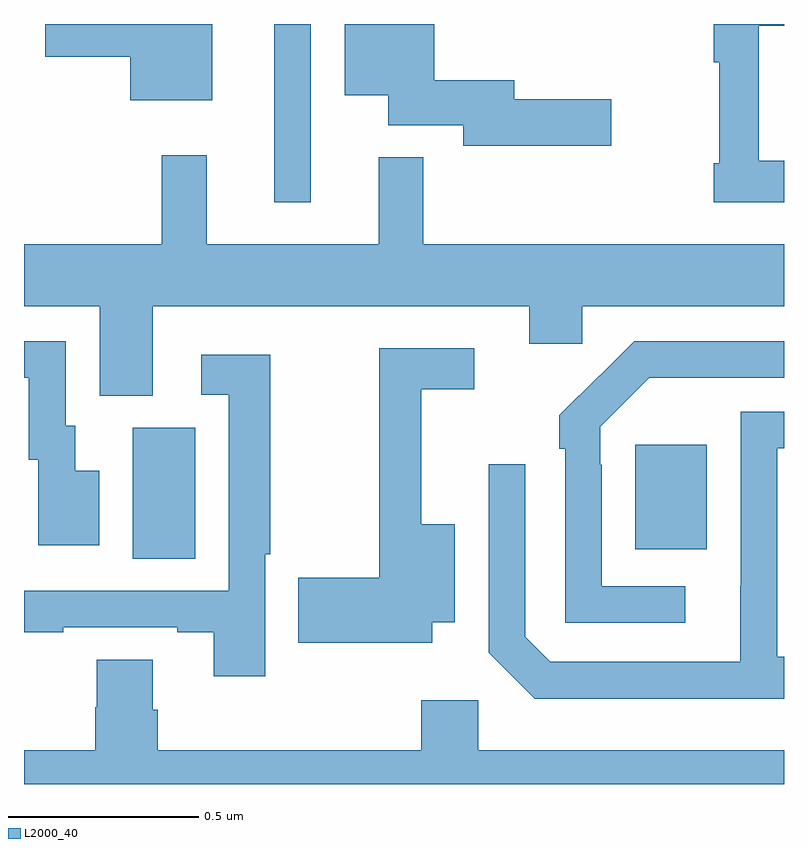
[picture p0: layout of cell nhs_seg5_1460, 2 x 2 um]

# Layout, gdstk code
import gdstk
lib = gdstk.Library(unit=1e-6, precision=1e-09)
def R(c, l, rs):  # rectangles x0, y0, x1, y1
    for r in rs: c.add(gdstk.rectangle(r[:2], r[2:], *l))
def P(c, l, *ps):  # polygons
    for p in ps: c.add(gdstk.Polygon(p, *l))
L2000_40 = (2000, 40)

nhs_seg5_1460 = lib.new_cell('nhs_seg5_1460')
R(nhs_seg5_1460, L2000_40, [(130.286,893.392,130.45,893.736), (131.609,893.417,131.797,893.692), (130.658,894.33,130.755,894.799)])
P(nhs_seg5_1460, L2000_40, [(130.495,894.799),(130.056,894.799),(130.056,894.713),(130.28,894.713),(130.28,894.599),(130.495,894.599)],
  [(132,894.439),(131.933,894.439),(131.933,894.794),(132,894.794),(132,894.799),(131.83,894.799),(131.83,894.798),(131.815,894.798),(131.815,894.698),(131.83,894.698),(131.83,894.433),(131.815,894.433),(131.815,894.33),(132,894.33)],
  [(131.545,894.601),(131.29,894.601),(131.29,894.651),(131.08,894.651),(131.08,894.799),(130.844,894.799),(130.844,894.611),(130.958,894.611),(130.958,894.533),(131.156,894.533),(131.156,894.479),(131.545,894.479)],
  [(130.339,894.056),(131.33,894.056),(131.33,893.958),(131.469,893.958),(131.469,894.056),(132,894.056),(132,894.22),(131.051,894.22),(131.051,894.448),(130.934,894.448),(130.934,894.22),(130.481,894.22),(130.481,894.454),(130.363,894.454),(130.363,894.22),(130,894.22),(130,894.056),(130.199,894.056),(130.199,893.821),(130.339,893.821)],
  [(130.198,893.623),(130.135,893.623),(130.135,893.742),(130.11,893.742),(130.11,893.964),(130,893.964),(130,893.868),(130.013,893.868),(130.013,893.652),(130.037,893.652),(130.037,893.427),(130.198,893.427)],
  [(131.74,893.319),(131.52,893.319),(131.52,893.639),(131.517,893.639),(131.517,893.739),(131.646,893.868),(132,893.868),(132,893.964),(131.606,893.964),(131.515,893.873),(131.514,893.874),(131.409,893.769),(131.409,893.681),(131.424,893.681),(131.424,893.223),(131.74,893.223)],
  [(131.074,893.225),(131.134,893.225),(131.134,893.482),(131.045,893.482),(131.045,893.838),(131.185,893.838),(131.185,893.946),(130.935,893.946),(130.935,893.342),(130.722,893.342),(130.722,893.171),(131.074,893.171)],
  [(130.635,893.404),(130.648,893.404),(130.648,893.929),(130.467,893.929),(130.467,893.823),(130.539,893.823),(130.539,893.307),(130,893.307),(130,893.199),(130.103,893.199),(130.103,893.211),(130.403,893.211),(130.403,893.199),(130.499,893.199),(130.499,893.082),(130.635,893.082)],
  [(132,893.134),(131.982,893.134),(131.982,893.682),(132,893.682),(132,893.778),(131.886,893.778),(131.886,893.321),(131.885,893.321),(131.885,893.121),(131.385,893.121),(131.319,893.187),(131.319,893.641),(131.223,893.641),(131.223,893.145),(131.344,893.024),(132,893.024)],
  [(132,892.888),(131.196,892.888),(131.196,893.02),(131.045,893.02),(131.045,892.888),(130.352,892.888),(130.352,892.994),(130.339,892.994),(130.339,893.126),(130.192,893.126),(130.192,893.001),(130.187,893.001),(130.187,892.888),(130,892.888),(130,892.799),(132,892.799)])

lib.write_gds('nhs_seg5_1460.gds')
